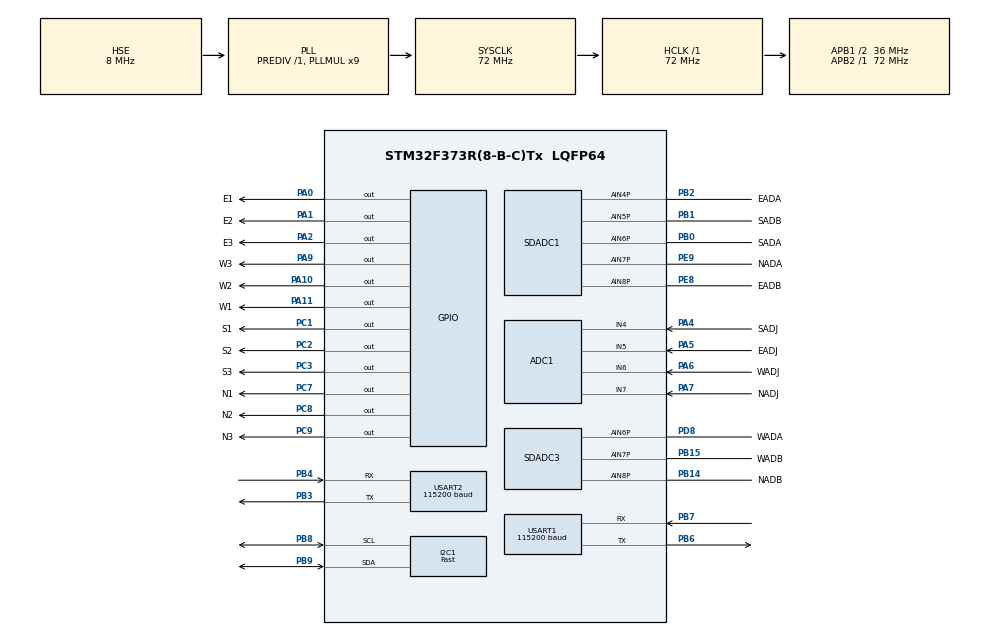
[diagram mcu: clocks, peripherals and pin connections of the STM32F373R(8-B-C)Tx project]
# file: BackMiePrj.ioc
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ADC1.Channel-0\#ChannelRegularConversion=ADC_CHANNEL_4
ADC1.Channel-1\#ChannelRegularConversion=ADC_CHANNEL_5
ADC1.Channel-2\#ChannelRegularConversion=ADC_CHANNEL_6
ADC1.Channel-3\#ChannelRegularConversion=ADC_CHANNEL_7
ADC1.ContinuousConvMode=ENABLE
ADC1.NbrOfConversion=4
ADC1.NbrOfConversionFlag=1
ADC1.Rank-1\#ChannelRegularConversion=2
ADC1.Rank-2\#ChannelRegularConversion=3
ADC1.Rank-3\#ChannelRegularConversion=4
ADC1.SamplingTime-0\#ChannelRegularConversion=ADC_SAMPLETIME_239CYCLES_5
ADC1.SamplingTime-1\#ChannelRegularConversion=ADC_SAMPLETIME_239CYCLES_5
ADC1.SamplingTime-2\#ChannelRegularConversion=ADC_SAMPLETIME_239CYCLES_5
ADC1.SamplingTime-3\#ChannelRegularConversion=ADC_SAMPLETIME_239CYCLES_5
ADC1.master=1
Dma.ADC1.6.Direction=DMA_PERIPH_TO_MEMORY
Dma.ADC1.6.Instance=DMA1_Channel1
Dma.ADC1.6.MemDataAlignment=DMA_MDATAALIGN_HALFWORD
Dma.ADC1.6.MemInc=DMA_MINC_ENABLE
Dma.ADC1.6.Mode=DMA_CIRCULAR
Dma.ADC1.6.PeriphDataAlignment=DMA_PDATAALIGN_HALFWORD
Dma.ADC1.6.PeriphInc=DMA_PINC_DISABLE
Dma.ADC1.6.Priority=DMA_PRIORITY_LOW
Dma.I2C1_RX.0.Direction=DMA_PERIPH_TO_MEMORY
Dma.I2C1_RX.0.Instance=DMA1_Channel7
Dma.I2C1_RX.0.MemDataAlignment=DMA_MDATAALIGN_BYTE
Dma.I2C1_RX.0.MemInc=DMA_MINC_ENABLE
Dma.I2C1_RX.0.Mode=DMA_NORMAL
Dma.I2C1_RX.0.PeriphDataAlignment=DMA_PDATAALIGN_BYTE
Dma.I2C1_RX.0.PeriphInc=DMA_PINC_DISABLE
Dma.I2C1_RX.0.Priority=DMA_PRIORITY_LOW
Dma.I2C1_TX.1.Direction=DMA_MEMORY_TO_PERIPH
Dma.I2C1_TX.1.Instance=DMA1_Channel6
Dma.I2C1_TX.1.MemDataAlignment=DMA_MDATAALIGN_BYTE
Dma.I2C1_TX.1.MemInc=DMA_MINC_ENABLE
Dma.I2C1_TX.1.Mode=DMA_NORMAL
Dma.I2C1_TX.1.PeriphDataAlignment=DMA_PDATAALIGN_BYTE
Dma.I2C1_TX.1.PeriphInc=DMA_PINC_DISABLE
Dma.I2C1_TX.1.Priority=DMA_PRIORITY_LOW
Dma.Request0=I2C1_RX
Dma.Request1=I2C1_TX
Dma.Request2=SDADC1
Dma.Request3=SDADC3
Dma.Request4=USART1_RX
Dma.Request5=USART1_TX
Dma.Request6=ADC1
Dma.SDADC1.2.Direction=DMA_PERIPH_TO_MEMORY
Dma.SDADC1.2.Instance=DMA2_Channel3
Dma.SDADC1.2.MemDataAlignment=DMA_MDATAALIGN_HALFWORD
Dma.SDADC1.2.MemInc=DMA_MINC_ENABLE
Dma.SDADC1.2.Mode=DMA_CIRCULAR
Dma.SDADC1.2.PeriphDataAlignment=DMA_PDATAALIGN_HALFWORD
Dma.SDADC1.2.PeriphInc=DMA_PINC_DISABLE
Dma.SDADC1.2.Priority=DMA_PRIORITY_HIGH
Dma.SDADC3.3.Direction=DMA_PERIPH_TO_MEMORY
Dma.SDADC3.3.Instance=DMA2_Channel5
Dma.SDADC3.3.MemDataAlignment=DMA_MDATAALIGN_HALFWORD
Dma.SDADC3.3.MemInc=DMA_MINC_ENABLE
Dma.SDADC3.3.Mode=DMA_CIRCULAR
Dma.SDADC3.3.PeriphDataAlignment=DMA_PDATAALIGN_HALFWORD
Dma.SDADC3.3.PeriphInc=DMA_PINC_DISABLE
Dma.SDADC3.3.Priority=DMA_PRIORITY_HIGH
Dma.USART1_RX.4.Direction=DMA_PERIPH_TO_MEMORY
Dma.USART1_RX.4.Instance=DMA1_Channel5
Dma.USART1_RX.4.MemDataAlignment=DMA_MDATAALIGN_BYTE
Dma.USART1_RX.4.MemInc=DMA_MINC_ENABLE
Dma.USART1_RX.4.Mode=DMA_CIRCULAR
Dma.USART1_RX.4.PeriphDataAlignment=DMA_PDATAALIGN_BYTE
Dma.USART1_RX.4.PeriphInc=DMA_PINC_DISABLE
Dma.USART1_RX.4.Priority=DMA_PRIORITY_LOW
Dma.USART1_TX.5.Direction=DMA_MEMORY_TO_PERIPH
Dma.USART1_TX.5.Instance=DMA1_Channel4
Dma.USART1_TX.5.MemDataAlignment=DMA_MDATAALIGN_BYTE
Dma.USART1_TX.5.MemInc=DMA_MINC_ENABLE
Dma.USART1_TX.5.Mode=DMA_NORMAL
Dma.USART1_TX.5.PeriphDataAlignment=DMA_PDATAALIGN_BYTE
Dma.USART1_TX.5.PeriphInc=DMA_PINC_DISABLE
Dma.USART1_TX.5.Priority=DMA_PRIORITY_LOW
I2C1.I2C_Speed_Mode=I2C_Fast
I2C1.Speed=400
I2C1.Timing=0x0010020A
Mcu.Family=STM32F3
Mcu.Name=STM32F373R(8-B-C)Tx
Mcu.Package=LQFP64
NVIC.DMA1_Channel1_IRQn=true\:0\:0\:false\:false\:true\:false\:true\:true
NVIC.DMA1_Channel4_IRQn=true\:0\:0\:false\:false\:true\:false\:true\:true
NVIC.DMA1_Channel5_IRQn=true\:0\:0\:false\:false\:true\:false\:true\:true
NVIC.DMA1_Channel6_IRQn=true\:0\:0\:false\:false\:true\:false\:true\:true
NVIC.DMA1_Channel7_IRQn=true\:0\:0\:false\:false\:true\:false\:true\:true
NVIC.DMA2_Channel3_IRQn=true\:0\:0\:false\:false\:true\:false\:true\:true
NVIC.DMA2_Channel5_IRQn=true\:0\:0\:false\:false\:true\:false\:true\:true
NVIC.I2C1_EV_IRQn=true\:0\:0\:false\:false\:true\:true\:true\:true
NVIC.PriorityGroup=NVIC_PRIORITYGROUP_4
NVIC.TIM3_IRQn=true\:0\:0\:false\:false\:true\:true\:true\:true
NVIC.TIM4_IRQn=true\:0\:0\:false\:false\:true\:true\:true\:true
NVIC.USART1_IRQn=true\:0\:0\:false\:false\:true\:true\:true\:true
NVIC.USART2_IRQn=true\:0\:0\:false\:false\:true\:true\:true\:true
PA0.GPIO_Label=E1
PA0.Signal=GPIO_Output
PA1.GPIO_Label=E2
PA1.Signal=GPIO_Output
PA10.GPIO_Label=W2
PA10.Signal=GPIO_Output
PA11.GPIO_Label=W1
PA11.Signal=GPIO_Output
PA13.Mode=Serial_Wire
PA13.Signal=SYS_JTMS-SWDIO
PA14.Mode=Serial_Wire
PA14.Signal=SYS_JTCK-SWCLK
PA2.GPIO_Label=E3
PA2.Signal=GPIO_Output
PA4.GPIO_Label=SADJ
PA4.GPIO_Mode=GPIO_MODE_ANALOG
PA4.GPIO_PuPd=GPIO_NOPULL
PA4.Mode=IN4
PA4.Signal=ADC1_IN4
PA5.GPIO_Label=EADJ
PA5.GPIO_Mode=GPIO_MODE_ANALOG
PA5.GPIO_PuPd=GPIO_NOPULL
PA5.Mode=IN5
PA5.Signal=ADC1_IN5
PA6.GPIO_Label=WADJ
PA6.GPIO_Mode=GPIO_MODE_ANALOG
PA6.GPIO_PuPd=GPIO_NOPULL
PA6.Mode=IN6
PA6.Signal=ADC1_IN6
PA7.GPIO_Label=NADJ
PA7.GPIO_Mode=GPIO_MODE_ANALOG
PA7.GPIO_PuPd=GPIO_NOPULL
PA7.Mode=IN7
PA7.Signal=ADC1_IN7
PA9.GPIO_Label=W3
PA9.Signal=GPIO_Output
PB0.GPIO_Label=SADA
PB0.Mode=IN6-Single-Ended zero reference
PB0.Signal=SDADC1_AIN6P
PB1.GPIO_Label=SADB
PB1.Mode=IN5-Single-Ended zero reference
PB1.Signal=SDADC1_AIN5P
PB14.GPIO_Label=NADB
PB14.Mode=IN8-Single-Ended zero reference
PB14.Signal=SDADC3_AIN8P
PB15.GPIO_Label=WADB
PB15.Mode=IN7-Single-Ended zero reference
PB15.Signal=SDADC3_AIN7P
PB2.GPIO_Label=EADA
PB2.Mode=IN4-Single-Ended zero reference
PB2.Signal=SDADC1_AIN4P
PB3.Mode=Asynchronous
PB3.Signal=USART2_TX
PB4.GPIO_Speed=GPIO_SPEED_FREQ_HIGH
PB4.Mode=Asynchronous
PB4.Signal=USART2_RX
PB6.GPIO_FM6=SYSCFG_CFGR1_I2C_PB6_FMP
PB6.Mode=Asynchronous
PB6.Signal=USART1_TX
PB7.GPIO_FM7=SYSCFG_CFGR1_I2C_PB7_FMP
PB7.Mode=Asynchronous
PB7.Signal=USART1_RX
PB8.Mode=I2C
PB8.Signal=I2C1_SCL
PB9.Mode=I2C
PB9.Signal=I2C1_SDA
PC1.GPIO_Label=S1
PC1.Signal=GPIO_Output
PC14-OSC32_IN.Mode=LSE-External-Oscillator
PC14-OSC32_IN.Signal=RCC_OSC32_IN
PC15-OSC32_OUT.Mode=LSE-External-Oscillator
PC15-OSC32_OUT.Signal=RCC_OSC32_OUT
PC2.GPIO_Label=S2
PC2.Signal=GPIO_Output
PC3.GPIO_Label=S3
PC3.Signal=GPIO_Output
PC7.GPIO_Label=N1
PC7.Signal=GPIO_Output
PC8.GPIO_Label=N2
PC8.Signal=GPIO_Output
PC9.GPIO_Label=N3
PC9.Signal=GPIO_Output
PD8.GPIO_Label=WADA
PD8.Mode=IN6-Single-Ended zero reference
PD8.Signal=SDADC3_AIN6P
PE8.GPIO_Label=EADB
PE8.Mode=IN8-Single-Ended zero reference
PE8.Signal=SDADC1_AIN8P
PE9.GPIO_Label=NADA
PE9.Mode=IN7-Single-Ended zero reference
PE9.Signal=SDADC1_AIN7P
PF0-OSC_IN.Mode=HSE-External-Oscillator
PF0-OSC_IN.Signal=RCC_OSC_IN
PF1-OSC_OUT.Mode=HSE-External-Oscillator
PF1-OSC_OUT.Signal=RCC_OSC_OUT
ProjectManager.HeapSize=0x200
ProjectManager.StackSize=0x400
ProjectManager.TargetToolchain=MDK-ARM V5.32
RCC.ADCPresc=RCC_ADC1PCLK2_DIV8
RCC.AHBFreq_Value=72000000
RCC.APB1CLKDivider=RCC_HCLK_DIV2
RCC.APB1Freq_Value=36000000
RCC.APB1TimFreq_Value=72000000
RCC.APB2Freq_Value=72000000
RCC.APB2TimFreq_Value=72000000
RCC.CortexFreq_Value=72000000
RCC.HCLKFreq_Value=72000000
RCC.HSE_VALUE=8000000
RCC.HSI_VALUE=8000000
RCC.PLLMUL=RCC_PLL_MUL9
RCC.PLLSourceVirtual=RCC_PLLSOURCE_HSE
RCC.SDADCPresc=RCC_SDADCSYSCLK_DIV12
RCC.SYSCLKFreq_VALUE=72000000
RCC.SYSCLKSource=RCC_SYSCLKSOURCE_PLLCLK
RCC.USBFreq_Value=72000000
RCC.Usart1ClockSelection=RCC_USART1CLKSOURCE_SYSCLK
RCC.Usart2ClockSelection=RCC_USART2CLKSOURCE_SYSCLK
SDADC1.EnableInjectedConversion=ENABLE
SDADC1.InjNumberOfConversion=5
SDADC1.InjectedChannel-0\#ChannelInjectedConversion=SDADC_CHANNEL_4
SDADC1.InjectedChannel-1\#ChannelInjectedConversion=SDADC_CHANNEL_6
SDADC1.InjectedChannel-2\#ChannelInjectedConversion=SDADC_CHANNEL_7
SDADC1.InjectedChannel-3\#ChannelInjectedConversion=SDADC_CHANNEL_8
SDADC1.InjectedChannel-4\#ChannelInjectedConversion=SDADC_CHANNEL_5
SDADC1.InjectedChannelsSelection=SDADC_CHANNEL_4|SDADC_CHANNEL_6|SDADC_CHANNEL_7|SDADC_CHANNEL_8|SDADC_CHANNEL_5
SDADC1.InjectedConfIndex-0\#ChannelInjectedConversion=SDADC_CONF_INDEX_0
SDADC1.InjectedConfIndex-1\#ChannelInjectedConversion=SDADC_CONF_INDEX_0
SDADC1.InjectedConfIndex-2\#ChannelInjectedConversion=SDADC_CONF_INDEX_0
SDADC1.InjectedConfIndex-3\#ChannelInjectedConversion=SDADC_CONF_INDEX_0
SDADC1.InjectedConfIndex-4\#ChannelInjectedConversion=SDADC_CONF_INDEX_0
SDADC1.InjectedContinuousMode=SDADC_CONTINUOUS_CONV_ON
SDADC1.InjectedRank-0\#ChannelInjectedConversion=1
SDADC1.InjectedRank-1\#ChannelInjectedConversion=2
SDADC1.InjectedRank-2\#ChannelInjectedConversion=3
SDADC1.InjectedRank-3\#ChannelInjectedConversion=4
SDADC1.InjectedRank-4\#ChannelInjectedConversion=5
SDADC1.InputMode0=SDADC_INPUT_MODE_SE_ZERO_REFERENCE
SDADC1.NbrOfConversionFlag=1
SDADC3.EnableInjectedConversion=ENABLE
SDADC3.InjNumberOfConversion=3
SDADC3.InjectedChannel-0\#ChannelInjectedConversion=SDADC_CHANNEL_6
SDADC3.InjectedChannel-1\#ChannelInjectedConversion=SDADC_CHANNEL_8
SDADC3.InjectedChannel-2\#ChannelInjectedConversion=SDADC_CHANNEL_7
SDADC3.InjectedChannelsSelection=SDADC_CHANNEL_6|SDADC_CHANNEL_8|SDADC_CHANNEL_7
SDADC3.InjectedConfIndex-0\#ChannelInjectedConversion=SDADC_CONF_INDEX_0
SDADC3.InjectedConfIndex-1\#ChannelInjectedConversion=SDADC_CONF_INDEX_0
SDADC3.InjectedConfIndex-2\#ChannelInjectedConversion=SDADC_CONF_INDEX_0
SDADC3.InjectedContinuousMode=SDADC_CONTINUOUS_CONV_ON
SDADC3.InjectedRank-0\#ChannelInjectedConversion=1
SDADC3.InjectedRank-1\#ChannelInjectedConversion=2
SDADC3.InjectedRank-2\#ChannelInjectedConversion=3
SDADC3.InputMode0=SDADC_INPUT_MODE_SE_ZERO_REFERENCE
SDADC3.NbrOfConversionFlag=1
TIM3.AutoReloadPreload=TIM_AUTORELOAD_PRELOAD_ENABLE
TIM3.Period=adj_arr
TIM3.Prescaler=7199
TIM4.AutoReloadPreload=TIM_AUTORELOAD_PRELOAD_ENABLE
TIM4.Period=data_arr
TIM4.Prescaler=7199
USART1.BaudRate=115200
USART1.VirtualMode-Asynchronous=VM_ASYNC
USART2.BaudRate=115200
USART2.VirtualMode-Asynchronous=VM_ASYNC
VP_SDADC1_CONF0.Mode=ConfigZero
VP_SDADC3_CONF0.Mode=ConfigZero
VP_TIM3_VS_ClockSourceINT.Mode=Internal
VP_TIM4_VS_ClockSourceINT.Mode=Internal
board=custom

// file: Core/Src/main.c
/* USER CODE BEGIN Header */
/**
 ******************************************************************************
 * @file           : main.c
 * @brief          : Main program body
 ******************************************************************************
 * @attention
 *
 * Copyright (c) 2025 STMicroelectronics.
 * All rights reserved.
 *
 * This software is licensed under terms that can be found in the LICENSE file
 * in the root directory of this software component.
 * If no LICENSE file comes with this software, it is provided AS-IS.
 *
 ******************************************************************************
 */
/* USER CODE END Header */
#include "main.h"
#include "adc.h"
#include "dma.h"
#include "gpio.h"
#include "i2c.h"
#include "sdadc.h"
#include "tim.h"
#include "usart.h"

/* USER CODE BEGIN Includes */
#include "fashion_driver.h"
#include <stdlib.h>
/* USER CODE END Includes */

void SystemClock_Config(void);

/* USER CODE BEGIN 0 */
ControlParams uartCtrl = {0};
uint8_t mutex_autoadj = Release; // 自动增益调节过程中的锁
uint8_t flag_fashion = Release;  // 舵机运行完成
uint8_t data_frame_upload[40] = {0};
uint8_t mask_lidar[4] = {0x00, 0x01, 0x02,
                         0x03}; // 00 01 10 11 ....111 000当前只有两个激光器
uint8_t index_lidar = 0;        // 激光器开启状态
uint8_t dmode_possize = 0;      // dMode的测量点数
int16_t dmode_pos[10] = {};     // dMode的测量点数组（角度）
uint16_t data_frame_master = 0; // 主帧序号
uint16_t data_frame_pos = 0;    // 子帧序号/位置

/* USER CODE END 0 */

int main(void) {
  /* USER CODE BEGIN 1 */
  data_frame_upload[0] = 0xA9;
  data_frame_upload[1] = 0xB5;
  data_frame_upload[39] = 0x33;
  uartCtrl.flagMask = CHE | DebugMode | SPMode; // 模式控制掩码
  uartCtrl.posLow = 0;
  uartCtrl.posHigh = 500;
  uartCtrl.posSet = 0;
  uartCtrl.adjTime = 10;
  uartCtrl.uartUploadTime = 1;
  uartCtrl.fashionTime = 1000;
  uartCtrl.lidarTime = 10;
  uartCtrl.delayTime = 50;
  /* USER CODE END 1 */

  /* MCU Configuration--------------------------------------------------------*/

  /* Reset of all peripherals, Initializes the Flash interface and the Systick.
   */
  HAL_Init();

  /* Configure the system clock */
  SystemClock_Config();

  /* Initialize all configured peripherals */
  MX_GPIO_Init();
  MX_DMA_Init();
  MX_USART1_UART_Init();
  MX_USART2_UART_Init();
  MX_I2C1_Init();
  MX_ADC1_Init();
  MX_SDADC1_Init();
  MX_SDADC3_Init();
  MX_TIM3_Init();
  MX_TIM4_Init();
  /* USER CODE BEGIN 2 */
  HAL_UARTEx_ReceiveToIdle_DMA(&huart1, ReceiveBuff1, BUFFERSIZE);
  HAL_UARTEx_ReceiveToIdle_IT(&huart2, recv_frame2, FRAMESIZE);

  HAL_SDADC_CalibrationStart(&hsdadc1, SDADC_CALIBRATION_SEQ_1);
  HAL_SDADC_PollForCalibEvent(&hsdadc1, HAL_MAX_DELAY);
  HAL_SDADC_CalibrationStart(&hsdadc3, SDADC_CALIBRATION_SEQ_1);
  HAL_SDADC_PollForCalibEvent(&hsdadc3, HAL_MAX_DELAY);

  HAL_SDADC_InjectedStart_DMA(&hsdadc1, (uint32_t *)sdadc_frame, 5);
  HAL_SDADC_InjectedStart_DMA(&hsdadc3, (uint32_t *)&sdadc_frame[5], 3);

  // HAL_ADC_Start_DMA(&hadc1,(uint32_t*)adc_frame,4);

  // HAL_TIM_Base_Start_IT(&htim3);
  HAL_TIM_Base_Start_IT(&htim4); // 发送串口数据

  for (int i = 0; i < 4; ++i) {
    uint8_t iicd[2];
    iicd[0] = 0x80;
    iicd[1] = autoadj[i + 4];
    HAL_I2C_Master_Transmit_DMA(&hi2c1, adjaddr[i], iicd, 2);
    HAL_Delay(20);
  }
  for (int i = 0; i < 4; ++i) {
    uint8_t iicd[2];
    iicd[0] = 0x00;
    iicd[1] = autoadj[i];
    HAL_I2C_Master_Transmit_DMA(&hi2c1, adjaddr[i], iicd, 2);
    HAL_Delay(20);
  }
  /* USER CODE END 2 */

  /* Infinite loop */
  /* USER CODE BEGIN WHILE */
  while (1) {
    HAL_Delay(500);
    debugModeSet();
    cModeSet();
    dModeSet();
    fModeSet();
    /* USER CODE END WHILE */

  }
}

void SystemClock_Config(void) {
  RCC_OscInitTypeDef RCC_OscInitStruct = {0};
  RCC_ClkInitTypeDef RCC_ClkInitStruct = {0};
  RCC_PeriphCLKInitTypeDef PeriphClkInit = {0};

  /** Initializes the RCC Oscillators according to the specified parameters
   * in the RCC_OscInitTypeDef structure.
   */
  RCC_OscInitStruct.OscillatorType =
      RCC_OSCILLATORTYPE_HSI | RCC_OSCILLATORTYPE_HSE;
  RCC_OscInitStruct.HSEState = RCC_HSE_ON;
  RCC_OscInitStruct.HSEPredivValue = RCC_HSE_PREDIV_DIV1;
  RCC_OscInitStruct.HSIState = RCC_HSI_ON;
  RCC_OscInitStruct.HSICalibrationValue = RCC_HSICALIBRATION_DEFAULT;
  RCC_OscInitStruct.PLL.PLLState = RCC_PLL_ON;
  RCC_OscInitStruct.PLL.PLLSource = RCC_PLLSOURCE_HSE;
  RCC_OscInitStruct.PLL.PLLMUL = RCC_PLL_MUL9;
  if (HAL_RCC_OscConfig(&RCC_OscInitStruct) != HAL_OK) {
    Error_Handler();
  }

  /** Initializes the CPU, AHB and APB buses clocks
   */
  RCC_ClkInitStruct.ClockType = RCC_CLOCKTYPE_HCLK | RCC_CLOCKTYPE_SYSCLK |
                                RCC_CLOCKTYPE_PCLK1 | RCC_CLOCKTYPE_PCLK2;
  RCC_ClkInitStruct.SYSCLKSource = RCC_SYSCLKSOURCE_PLLCLK;
  RCC_ClkInitStruct.AHBCLKDivider = RCC_SYSCLK_DIV1;
  RCC_ClkInitStruct.APB1CLKDivider = RCC_HCLK_DIV2;
  RCC_ClkInitStruct.APB2CLKDivider = RCC_HCLK_DIV1;

  if (HAL_RCC_ClockConfig(&RCC_ClkInitStruct, FLASH_LATENCY_2) != HAL_OK) {
    Error_Handler();
  }
  PeriphClkInit.PeriphClockSelection =
      RCC_PERIPHCLK_USART1 | RCC_PERIPHCLK_USART2 | RCC_PERIPHCLK_I2C1 |
      RCC_PERIPHCLK_ADC1 | RCC_PERIPHCLK_SDADC;
  PeriphClkInit.Usart1ClockSelection = RCC_USART1CLKSOURCE_SYSCLK;
  PeriphClkInit.Usart2ClockSelection = RCC_USART2CLKSOURCE_SYSCLK;
  PeriphClkInit.I2c1ClockSelection = RCC_I2C1CLKSOURCE_HSI;
  PeriphClkInit.SdadcClockSelection = RCC_SDADCSYSCLK_DIV12;
  PeriphClkInit.Adc1ClockSelection = RCC_ADC1PCLK2_DIV8;

  if (HAL_RCCEx_PeriphCLKConfig(&PeriphClkInit) != HAL_OK) {
    Error_Handler();
  }
  HAL_PWREx_EnableSDADC(PWR_SDADC_ANALOG1);
  HAL_PWREx_EnableSDADC(PWR_SDADC_ANALOG3);
}

/* USER CODE BEGIN 4 */
void setCtrlParams(void) {
  if (recv_frame2[0] == 0xA0 && recv_frame2[1] == 0xB3) {
    static uint8_t iicdata[2];
    static uint8_t cmd_id;
    static int16_t ang;
    static uint16_t tim;
    switch (recv_frame2[2]) {
    case 0x01: // 读取指令
      HAL_UART_Transmit_IT(&huart2, (uint8_t *)&uartCtrl, sizeof(uartCtrl));
      break;
    case 0x02: // 批量写入指令
      memcpy(&uartCtrl, recv_frame2 + 3, sizeof(uartCtrl));
      break;
    case 0x03: // 设置串口发送频率
      uartCtrl.uartUploadTime = (recv_frame2[3] << 8) + recv_frame2[4];
      data_arr = 10000 / uartCtrl.uartUploadTime - 1;
      if (HAL_TIM_Base_GetState(&htim4) == HAL_TIM_STATE_BUSY) {
        HAL_TIM_Base_Stop_IT(&htim4); // 关闭自动上传
      }
      MX_TIM4_Init();
      break;
    case 0x04: // 设置自动增益频率
      uartCtrl.adjTime = (recv_frame2[3] << 8) + recv_frame2[4];
      adj_arr = 10000 / uartCtrl.adjTime - 1;
      HAL_TIM_Base_Stop_IT(&htim3);
      MX_TIM3_Init();
      HAL_TIM_Base_Start_IT(&htim3);
      break;
    case 0x05: // 设置舵机单运转时间
      uartCtrl.fashionTime = (recv_frame2[3] << 8) + recv_frame2[4];
      break;
    case 0x06: // 设置舵机运转位置参数
      uartCtrl.posLow = (recv_frame2[3] << 8) + recv_frame2[4];
      uartCtrl.posHigh = (recv_frame2[5] << 8) + recv_frame2[6];
      uartCtrl.posSet = (recv_frame2[9] << 8) + recv_frame2[10];
      break;
    case 0x07: // 设置工作模式
      uartCtrl.flagMask = (recv_frame2[3] << 8) + recv_frame2[4];
      modeInit();
      break;
    case 0x08: // 设置激光器开启延时
      uartCtrl.lidarTime = (recv_frame2[3] << 8) + recv_frame2[4];
      break;
    case 0x11: // 调试IIC读命令
      HAL_I2C_Master_Receive_DMA(&hi2c1, adjaddr[recv_frame2[3]], &readadj, 1);
      break;
    case 0x12: // 调试IIC写命令
      iicdata[0] = recv_frame2[4];
      iicdata[1] = recv_frame2[5];
      if (recv_frame2[4] == 0x00) {
        autoadj[recv_frame2[3]] = recv_frame2[5];
      } else {
        autoadj[recv_frame2[3] + 4] = recv_frame2[5];
      }
      HAL_I2C_Master_Transmit_DMA(&hi2c1, adjaddr[recv_frame2[3]], iicdata, 2);
      break;
    case 0x13: // 调试舵机是否在线
      fashion_send_ping(recv_frame2[3]);
      break;
    case 0x14: // 调试设置舵机角度
      ang = (recv_frame2[4] << 8) + recv_frame2[5];
      tim = (recv_frame2[6] << 8) + recv_frame2[7];
      fashion_send_single_angle(recv_frame2[3], ang, tim);
      break;
    case 0x15: // 调试读取舵机角度
      fashion_read_servo_angle(recv_frame2[3]);
      break;
    case 0x16: // 调试读取数据
      cmd_id = recv_frame2[4];
      fashion_read_data(recv_frame2[3], cmd_id);
      break;
    case 0x17: // 调试监控数据
      cmd_id = recv_frame2[4];
      fashion_monitor_data(recv_frame2[3], cmd_id);
      break;
    case 0x18: // 同步四个舵机到指定角度
      ang = (recv_frame2[3] << 8) + recv_frame2[4];
      tim = (recv_frame2[5] << 8) + recv_frame2[6];
      fashion_sync_set_angle(ang, tim);
      break;
    case 0x19:
      fashion_sync_data_monitor();
      break;
    case 0x1A:
      HAL_GPIO_WritePin(GPIOA, E1_Pin | W1_Pin, 1);
      // HAL_GPIO_WritePin(GPIOC,S1_Pin | N1_Pin,uartCtrl.flagMask & Lidar1);
      // HAL_GPIO_WritePin(GPIOA,E2_Pin | W2_Pin,uartCtrl.flagMask & Lidar2);
      HAL_GPIO_WritePin(GPIOC, S2_Pin | N2_Pin, 1);
      // HAL_GPIO_WritePin(GPIOA,E3_Pin | W3_Pin,uartCtrl.flagMask & Lidar3);
      // HAL_GPIO_WritePin(GPIOC,S3_Pin | N3_Pin,uartCtrl.flagMask & Lidar3);
      break;
    case 0x21: // 带参数启动debug
      // 需要参数posSet、fashiontime、
      uartCtrl.flagMask = (recv_frame2[3] << 8) + recv_frame2[4];
      uartCtrl.posSet = (recv_frame2[5] << 8) + recv_frame2[6];
      uartCtrl.fashionTime = (recv_frame2[7] << 8) + recv_frame2[8];
      modeInit();
      break;
    case 0x22: // 带参数启动cMode
      // 需要参数posLow、posHigh、fashiontime、lidartime
      uartCtrl.flagMask = (recv_frame2[3] << 8) + recv_frame2[4];
      uartCtrl.posLow = (recv_frame2[5] << 8) + recv_frame2[6];
      uartCtrl.posHigh = (recv_frame2[7] << 8) + recv_frame2[8];
      uartCtrl.fashionTime = (recv_frame2[9] << 8) + recv_frame2[10];
      uartCtrl.lidarTime = (recv_frame2[11] << 8) + recv_frame2[12];
      modeInit();
      break;
    case 0x23: // 带参数启动dMode
      uartCtrl.flagMask = (recv_frame2[3] << 8) + recv_frame2[4];
      uartCtrl.fashionTime = (recv_frame2[5] << 8) + recv_frame2[6];
      uartCtrl.lidarTime = (recv_frame2[7] << 8) + recv_frame2[8];
      uartCtrl.delayTime = (recv_frame2[9] << 8) + recv_frame2[10];
      dmode_possize = recv_frame2[11];
      for (uint8_t i = 0; i < dmode_possize; ++i) {
        dmode_pos[i] = (recv_frame2[12 + i * 2] << 8) + recv_frame2[13 + i * 2];
      }
      modeInit();
      break;
    case 0x24: // 带参数启动dMode
      uartCtrl.flagMask = 0x0008;
      uartCtrl.lidarTime = (recv_frame2[5] << 8) + recv_frame2[6];
      uartCtrl.delayTime = (recv_frame2[7] << 8) + recv_frame2[8];
      modeInit();
      break;
      // 后续添加其他指令
    default:
      break;
    }
  }
  memset(recv_frame2, 0, FRAMESIZE);
}

void dataUpload(void) {
  if (uartCtrl.flagMask & SPMode) {
    // CH1[0,4,0,4],CH2[2,1,1,5],CH3[3,7,2,6],CH4[5,6,3,7]
    char buffer[100];
    int slen = 0;
    int V0, V1;
    // 新增两个数，一个是dmode_pos[index],一个是flagMask二进制
    slen = sprintf(buffer, "%04x,%d,", uartCtrl.flagMask, uartCtrl.posSet);
    // 检查启用的通道并输出对应的值
    if (uartCtrl.flagMask & CHE) {
      // CH1对应sdadc_frame[0], sdadc_frame[4], autoadj[0], autoadj[4]
      V0 = (sdadc_frame[0] + 32767) * 3300.0 / 65535.0;
      V1 = (sdadc_frame[4] + 32767) * 3300.0 / 65535.0;
      slen += sprintf(buffer + slen, "%d,%d,%d,%d,", V0, V1, autoadj[0],
                      autoadj[4]);
    }

    if (uartCtrl.flagMask & CHS) {
      // CH2对应sdadc_frame[2], sdadc_frame[1], autoadj[1], autoadj[5]
      V0 = (sdadc_frame[2] + 32767) * 3300.0 / 65535.0;
      V1 = (sdadc_frame[1] + 32767) * 3300.0 / 65535.0;
      slen += sprintf(buffer + slen, "%d,%d,%d,%d,", V0, V1, autoadj[1],
                      autoadj[5]);
    }

    if (uartCtrl.flagMask & CHN) {
      // CH3对应sdadc_frame[3], sdadc_frame[7], autoadj[2], autoadj[6]
      V0 = (sdadc_frame[3] + 32767) * 3300.0 / 65535.0;
      V1 = (sdadc_frame[7] + 32767) * 3300.0 / 65535.0;
      slen += sprintf(buffer + slen, "%d,%d,%d,%d,", V0, V1, autoadj[2],
                      autoadj[6]);
    }

    if (uartCtrl.flagMask & CHW) {
      // CH4对应sdadc_frame[5], sdadc_frame[6], autoadj[3], autoadj[7]
      V0 = (sdadc_frame[5] + 32767) * 3300.0 / 65535.0;
      V1 = (sdadc_frame[6] + 32767) * 3300.0 / 65535.0;
      slen += sprintf(buffer + slen, "%d,%d,%d,%d,", V0, V1, autoadj[3],
                      autoadj[7]);
    }

    // 添加换行符
    sprintf(buffer + slen, "\r\n");

    // 发送数据
    HAL_UART_Transmit_IT(&huart2, (uint8_t *)buffer, strlen(buffer));
    return;
  }
  // ch1[1,0,4]
  // ch4[]
  //  数据帧逻辑
  memset(&data_frame_upload[2], 0, 37); // 清空数据位
  memcpy(&data_frame_upload[2], sdadc_frame,
         sizeof(sdadc_frame)); // sdadc 8*2 = 16Bytes
  memcpy(&data_frame_upload[18], autoadj,
         sizeof(autoadj)); // autoadj 8*1 = 8Bytes
  memcpy(&data_frame_upload[26], &uartCtrl.flagMask, sizeof(uartCtrl.flagMask));
  memcpy(&data_frame_upload[28], &uartCtrl.posSet, sizeof(uartCtrl.posSet));
  HAL_UART_Transmit_IT(&huart2, data_frame_upload, 30);
  // 0-1 		帧头0xA9 0xB5 1*2 2-9 		4ch adc
  // 4*2 10-25 	8ch sdadc 8*2 26-33		8ch autoadj
  // 8*1 34-37		2ch frame(master/slave)	2*2 38			1ch
  // lidar state					1*1 39
  // 帧尾0x33								1*1
  //		memcpy(&data_frame_upload[2],adc_frame,sizeof(adc_frame));
  ////adc 4*2 = 8Bytes
  //		memcpy(&data_frame_upload[10],sdadc_frame,sizeof(sdadc_frame));//sdadc
  // 8*2 = 16Bytes
  //		memcpy(&data_frame_upload[26],autoadj,sizeof(autoadj));//autoadj
  // 8*1 = 8Bytes
  //		memcpy(&data_frame_upload[34],&data_frame_master,sizeof(data_frame_master));//2Bytes
  //		memcpy(&data_frame_upload[36],&data_frame_pos,sizeof(data_frame_pos));//2Bytes
  //		data_frame_upload[38]=index_lidar;//1Bytes
  //		// 增益、帧序号
  //		HAL_UART_Transmit_IT(&huart2,data_frame_upload,sizeof(data_frame_upload));
}

void debugModeSet() {
  if (uartCtrl.flagMask & DebugMode) {
    fashion_sync_set_angle(uartCtrl.posSet, uartCtrl.fashionTime);
    HAL_Delay(uartCtrl.fashionTime + uartCtrl.delayTime);
    while (uartCtrl.flagMask & DebugMode) {
      // 仅调整舵机位置，和激光器工作状态，工作时序通过定时器完成
      setLidarPin();
      if (flag_fashion == Lock) {
        fashion_sync_set_angle(uartCtrl.posSet, uartCtrl.fashionTime);
      }
      if (HAL_TIM_Base_GetState(&htim4) == HAL_TIM_STATE_READY) {
        HAL_TIM_Base_Start_IT(&htim4); // 发送串口数据
      }
      HAL_Delay(uartCtrl.fashionTime);
    }
  }
};
void cModeSet() {
  if (uartCtrl.flagMask & CMode) {
    // 初始化
    fashion_sync_set_angle(uartCtrl.posLow,
                           uartCtrl.fashionTime); // 启动舵机到初始位置posLow
    HAL_Delay(uartCtrl.fashionTime + uartCtrl.lidarTime);
    int16_t target;

    while (uartCtrl.flagMask & CMode) {
      // 设置激光器状态
      HAL_GPIO_WritePin(GPIOA, E1_Pin | W1_Pin, mask_lidar[index_lidar] & 0x01);
      HAL_GPIO_WritePin(GPIOC, S1_Pin | N1_Pin, mask_lidar[index_lidar] & 0x01);
      HAL_GPIO_WritePin(GPIOA, E2_Pin | W2_Pin, mask_lidar[index_lidar] & 0x02);
      HAL_GPIO_WritePin(GPIOC, S2_Pin | N2_Pin, mask_lidar[index_lidar] & 0x02);
      fashion_read_servo_angle(0);
      HAL_Delay(uartCtrl.lidarTime); // 等待激光器启动

      // 切换舵机目标位置
      target = (abs(angle_read - uartCtrl.posLow) <= 10) ? uartCtrl.posHigh
                                                         : uartCtrl.posLow;

      // 启动舵机并开始发送数据
      fashion_sync_set_angle(target, uartCtrl.fashionTime);
      HAL_Delay(5);
      data_frame_pos = 0;            // 子帧计数清零
      HAL_TIM_Base_Start_IT(&htim4); // 启动定时器发送数据

      // 等待舵机完成
      HAL_Delay(uartCtrl.fashionTime);

      // 关闭定时器
      HAL_TIM_Base_Stop_IT(&htim4);

      // 更新激光器索引
      ++index_lidar;
      if (index_lidar >= 4) { // 完成一轮
        index_lidar = 0;
        ++data_frame_master;
      }
    }
  }
};

void dModeSet() {
  if (uartCtrl.flagMask & DMode) {
    uint8_t index = 0;
    uint8_t direction = 1;
    while (uartCtrl.flagMask & DMode) {
      setLidarPin();

      fashion_sync_set_angle(dmode_pos[index], uartCtrl.fashionTime);
      HAL_Delay(uartCtrl.fashionTime + uartCtrl.delayTime);
      uartCtrl.posSet = dmode_pos[index];
      HAL_TIM_Base_Start_IT(&htim4); // 启动定时器发送数据
      HAL_Delay(uartCtrl.lidarTime); // 采样数据时长
      HAL_TIM_Base_Stop_IT(&htim4);  // 启动定时器发送数据
      if (direction == 1) {
        if (index == dmode_possize - 1) {
          index = dmode_possize - 2;
          direction = 0;
        } else {
          ++index;
        }
      } else {
        if (index == 0) {
          index = 1;
          direction = 1;
        } else {
          --index;
        }
      }
    }
  }
}

void fModeSet(void) {
  uint16_t data1[8];
  uint16_t data2[8];
  // 数据格式化
  char buffer[200];
  int slen = 0;
  while (uartCtrl.flagMask == 0x0008) {
		slen = 0;
    // 循环开启每个方向的前两个端口进行采样
    for (int i = 0; i < 8; ++i) {
      // 根据索引确定端口
      switch (i) {
      case 0:
        HAL_GPIO_WritePin(S1_GPIO_Port, S1_Pin, 1);
        break; // S1
      case 1:
        HAL_GPIO_WritePin(S2_GPIO_Port, S2_Pin, 1);
        break; // S2
      case 2:
        HAL_GPIO_WritePin(E1_GPIO_Port, E1_Pin, 1);
        break; // E1
      case 3:
        HAL_GPIO_WritePin(E2_GPIO_Port, E2_Pin, 1);
        break; // E2
      case 4:
        HAL_GPIO_WritePin(N1_GPIO_Port, N1_Pin, 1);
        break; // N1
      case 5:
        HAL_GPIO_WritePin(N2_GPIO_Port, N2_Pin, 1);
        break; // N2
      case 6:
        HAL_GPIO_WritePin(W1_GPIO_Port, W1_Pin, 1);
        break; // W1
      case 7:
        HAL_GPIO_WritePin(W2_GPIO_Port, W2_Pin, 1);
        break; // W2
      }
      HAL_Delay(uartCtrl.lidarTime);
      data1[i] = (sdadc_frame[0] + 32767) * 3300.0 / 65535.0;
      data2[i] = (sdadc_frame[4] + 32767) * 3300.0 / 65535.0;
      slen += sprintf(buffer + slen, "%d,%d,", data1[i], data2[i]);
      // 关闭端口
      switch (i) {
      case 0:
        HAL_GPIO_WritePin(S1_GPIO_Port, S1_Pin, 0);
        break; // S1
      case 1:
        HAL_GPIO_WritePin(S2_GPIO_Port, S2_Pin, 0);
        break; // S2
      case 2:
        HAL_GPIO_WritePin(E1_GPIO_Port, E1_Pin, 0);
        break; // E1
      case 3:
        HAL_GPIO_WritePin(E2_GPIO_Port, E2_Pin, 0);
        break; // E2
      case 4:
        HAL_GPIO_WritePin(N1_GPIO_Port, N1_Pin, 0);
        break; // N1
      case 5:
        HAL_GPIO_WritePin(N2_GPIO_Port, N2_Pin, 0);
        break; // N2
      case 6:
        HAL_GPIO_WritePin(W1_GPIO_Port, W1_Pin, 0);
        break; // W1
      case 7:
        HAL_GPIO_WritePin(W2_GPIO_Port, W2_Pin, 0);
        break; // W2
      }
    }
    // 添加换行符
    sprintf(buffer + slen, "\r\n");

    // 发送数据
    HAL_UART_Transmit_IT(&huart2, (uint8_t *)buffer, strlen(buffer));

    HAL_Delay(uartCtrl.delayTime);
  }
}
void modeInit() {
  if (HAL_TIM_Base_GetState(&htim4) == HAL_TIM_STATE_BUSY) {
    HAL_TIM_Base_Stop_IT(&htim4); // 关闭自动上传
  }
  if (uartCtrl.flagMask == 0) {
    HAL_TIM_Base_Start_IT(&htim4);
  }
  flag_fashion = Lock;
  index_lidar = 0;
  data_frame_master = 0;
  data_frame_pos = 0;
}
float V_ad_1[4] = {0};
float A_origin[4] = {0};
float A_thresh = 10;
float V_ref = 3300;
float V_max = 200;
float V_min = 50;
float V_target = 100;
float R_target = 0;
uint8_t autoadj_target = 0;
uint8_t Adj_flag = 0;
uint16_t Arr_label[4] = {0, 1, 2, 5};
void autoGainAdj(void) {
  //	uint8_t i = 0;
  //	for (i=0;i<4;i++){
  //		// 1. 由SDADC的值转换为第一级放大电压V1
  //		V_ad_1[i] = (sdadc_frame[Arr_label[i]] + 32767) * V_ref / 65535;
  ////i, Arr_label[i] 		A_origin[i] = 1000 * V_ad_1[i] / ((256 -
  /// autoadj[i])
  //* 3.92); //i,i,2i+1, 电流单位是nA

  //		// 2. 判断是否需要调节
  //		if (V_ad_1[i] > V_max) {
  //		    Adj_flag = 1;      // 过压：减小增益
  //		}
  //		else if (V_ad_1[i] <= V_min && A_origin[i] >= A_thresh) {
  //		    Adj_flag = 1;      // 欠压且电流仍大：增大增益
  //		}

  //		// 3. 若需调节则计算新阻值和目标档位
  //		if (Adj_flag) {
  //		    R_target = 1e6f * V_target / A_origin[i];       // Ω
  //		    autoadj_target = (uint8_t)(256 - (R_target / 3920.0f));

  //		    // 限幅处理
  //		    if (autoadj_target > 255) {
  //		    	autoadj_target = 255;
  //		    }
  //		    if (autoadj_target < 1) {
  //		    	autoadj_target = 1;   // 防止0档过小
  //		    }

  //		    // 更新增益
  //		    autoadj[i] = autoadj_target;
  //				uint8_t iicdata[2] = {0};
  //				iicdata[1] = autoadj_target;
  //				HAL_I2C_Master_Transmit_DMA(&hi2c1, adjaddr[i],
  // iicdata, 2);
  //		}

  //		Adj_flag = 0;
  //	}
  uint8_t i = 0;
  // 1. 由SDADC的值转换为第一级放大电压V1
  V_ad_1[i] =
      (sdadc_frame[Arr_label[i]] + 32767) * V_ref / 65535; // i, Arr_label[i]
  A_origin[i] =
      1000 * V_ad_1[i] / ((256 - autoadj[i]) * 3.92); // i,i,2i+1, 电流单位是nA

  // 2. 判断是否需要调节
  if (V_ad_1[i] > V_max) {
    Adj_flag = 1; // 过压：减小增益
  } else if (V_ad_1[i] <= V_min && A_origin[i] >= A_thresh) {
    Adj_flag = 1; // 欠压且电流仍大：增大增益
  }

  // 3. 若需调节则计算新阻值和目标档位
  if (Adj_flag) {
    R_target = 1e6f * V_target / A_origin[i]; // Ω
    autoadj_target = (uint8_t)(256 - (R_target / 3920.0f));

    // 限幅处理
    if (autoadj_target > 255) {
      autoadj_target = 255;
    }
    if (autoadj_target < 1) {
      autoadj_target = 1; // 防止0档过小
    }

    // 更新增益
    autoadj[i] = autoadj_target;
    uint8_t iicdata[2] = {0};
    iicdata[1] = autoadj_target;
    HAL_I2C_Master_Transmit_DMA(&hi2c1, adjaddr[i], iicdata, 2);
  }

  Adj_flag = 0;
}

void setLidarPin(void) {
  if (uartCtrl.flagMask & CHE) {
    HAL_GPIO_WritePin(GPIOA, E1_Pin, uartCtrl.flagMask & Lidar1);
    HAL_GPIO_WritePin(GPIOA, E2_Pin, uartCtrl.flagMask & Lidar2);
    HAL_GPIO_WritePin(GPIOA, E3_Pin, uartCtrl.flagMask & Lidar3);
  } else {
    HAL_GPIO_WritePin(GPIOA, E1_Pin | E2_Pin | E3_Pin, 0);
  }
  if (uartCtrl.flagMask & CHW) {
    HAL_GPIO_WritePin(GPIOA, W1_Pin, uartCtrl.flagMask & Lidar1);
    HAL_GPIO_WritePin(GPIOA, W2_Pin, uartCtrl.flagMask & Lidar2);
    HAL_GPIO_WritePin(GPIOA, W3_Pin, uartCtrl.flagMask & Lidar3);
  } else {
    HAL_GPIO_WritePin(GPIOA, W1_Pin | W2_Pin | W3_Pin, 0);
  }
  if (uartCtrl.flagMask & CHS) {
    HAL_GPIO_WritePin(GPIOC, S1_Pin, uartCtrl.flagMask & Lidar1);
    HAL_GPIO_WritePin(GPIOC, S2_Pin, uartCtrl.flagMask & Lidar2);
    HAL_GPIO_WritePin(GPIOC, S3_Pin, uartCtrl.flagMask & Lidar3);
  } else {
    HAL_GPIO_WritePin(GPIOC, S1_Pin | S2_Pin | S3_Pin, 0);
  }
  if (uartCtrl.flagMask & CHN) {
    HAL_GPIO_WritePin(GPIOC, N1_Pin, uartCtrl.flagMask & Lidar1);
    HAL_GPIO_WritePin(GPIOC, N2_Pin, uartCtrl.flagMask & Lidar2);
    HAL_GPIO_WritePin(GPIOC, N3_Pin, uartCtrl.flagMask & Lidar3);
  } else {
    HAL_GPIO_WritePin(GPIOC, N1_Pin | N2_Pin | N3_Pin, 0);
  }
}
void HAL_TIM_PeriodElapsedCallback(TIM_HandleTypeDef *htim) {
  if (htim == &htim3) {
    autoGainAdj();
  } else if (htim == &htim4) {
    ++data_frame_pos;
    dataUpload();
  }
}
void HAL_I2C_MasterTxCpltCallback(I2C_HandleTypeDef *hi2c) {
  --mutex_autoadj; // 调节完成后释放锁
}
void HAL_I2C_MasterRxCpltCallback(I2C_HandleTypeDef *hi2c) {
  HAL_UART_Transmit_IT(&huart2, &readadj, sizeof(readadj));
}
/* USER CODE END 4 */

void Error_Handler(void) {
  __disable_irq();
  while (1) {
  }
}
#ifdef USE_FULL_ASSERT
/**
 * @brief  Reports the name of the source file and the source line number
 *         where the assert_param error has occurred.
 * @param  file: pointer to the source file name
 * @param  line: assert_param error line source number
 * @retval None
 */
void assert_failed(uint8_t *file, uint32_t line) {
  /* USER CODE BEGIN 6 */
  /* User can add his own implementation to report the file name and line
     number, ex: printf("Wrong parameters value: file %s on line %d\r\n", file,
     line) */
  /* USER CODE END 6 */
}
#endif /* USE_FULL_ASSERT */
